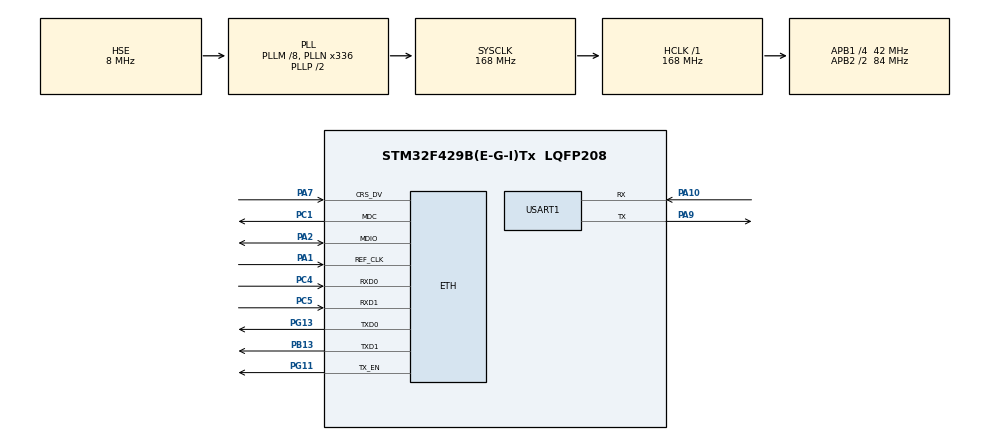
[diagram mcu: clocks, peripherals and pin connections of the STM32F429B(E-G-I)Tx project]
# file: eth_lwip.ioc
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ETH.MACAddr=02\:00\:00\:00\:00\:00
ETH.MediaInterface=HAL_ETH_RMII_MODE
LWIP.BSP.number=1
LWIP.GATEWAY_ADDRESS=192.168.028.001
LWIP.IP_ADDRESS=192.168.028.245
LWIP.LWIP_DHCP=0
LWIP.NETMASK_ADDRESS=255.255.255.000
LWIP.Version=v2.1.2_Cube
LWIP0.BSP.STBoard=false
LWIP0.BSP.api=BSP_COMPONENT_DRIVER
LWIP0.BSP.component=DP83848
LWIP0.BSP.instance=DP83848
LWIP0.BSP.name=Driver_PHY
LWIP0.BSP.semaphore=S_DP83848
LWIP0.BSP.solution=DP83848
Mcu.Family=STM32F4
Mcu.Name=STM32F429B(E-G-I)Tx
Mcu.Package=LQFP208
NVIC.PriorityGroup=NVIC_PRIORITYGROUP_4
NVIC.USART1_IRQn=true\:14\:0\:true\:false\:true\:true\:true\:true
PA1.Mode=RMII
PA1.Signal=ETH_REF_CLK
PA10.Mode=Asynchronous
PA10.Signal=USART1_RX
PA13.Mode=Serial_Wire
PA13.Signal=SYS_JTMS-SWDIO
PA14.Mode=Serial_Wire
PA14.Signal=SYS_JTCK-SWCLK
PA2.Mode=RMII
PA2.Signal=ETH_MDIO
PA7.Mode=RMII
PA7.Signal=ETH_CRS_DV
PA9.Mode=Asynchronous
PA9.Signal=USART1_TX
PB13.Mode=RMII
PB13.Signal=ETH_TXD1
PC1.Mode=RMII
PC1.Signal=ETH_MDC
PC4.Mode=RMII
PC4.Signal=ETH_RXD0
PC5.Mode=RMII
PC5.Signal=ETH_RXD1
PG11.Mode=RMII
PG11.Signal=ETH_TX_EN
PG13.Mode=RMII
PG13.Signal=ETH_TXD0
PH0/OSC_IN.Mode=HSE-External-Oscillator
PH0/OSC_IN.Signal=RCC_OSC_IN
PH1/OSC_OUT.Mode=HSE-External-Oscillator
PH1/OSC_OUT.Signal=RCC_OSC_OUT
ProjectManager.HeapSize=0x200
ProjectManager.StackSize=0x400
ProjectManager.TargetToolchain=STM32CubeIDE
RCC.48MHZClocksFreq_Value=84000000
RCC.AHBFreq_Value=168000000
RCC.APB1CLKDivider=RCC_HCLK_DIV4
RCC.APB1Freq_Value=42000000
RCC.APB1TimFreq_Value=84000000
RCC.APB2CLKDivider=RCC_HCLK_DIV2
RCC.APB2Freq_Value=84000000
RCC.APB2TimFreq_Value=168000000
RCC.CortexFreq_Value=168000000
RCC.HCLKFreq_Value=168000000
RCC.HSE_VALUE=8000000
RCC.HSI_VALUE=16000000
RCC.LSE_VALUE=32768
RCC.PLLM=8
RCC.PLLN=336
RCC.PLLSourceVirtual=RCC_PLLSOURCE_HSE
RCC.SYSCLKFreq_VALUE=168000000
RCC.SYSCLKSource=RCC_SYSCLKSOURCE_PLLCLK
RCC.VCOOutputFreq_Value=336000000
USART1.VirtualMode=VM_ASYNC
VP_LWIP_VS_Enabled.Mode=Enabled
board=custom

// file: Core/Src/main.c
/* USER CODE BEGIN Header */
/**
  ******************************************************************************
  * @file           : main.c
  * @brief          : Main program body
  ******************************************************************************
  * @attention
  *
  * Copyright (c) 2023 STMicroelectronics.
  * All rights reserved.
  *
  * This software is licensed under terms that can be found in the LICENSE file
  * in the root directory of this software component.
  * If no LICENSE file comes with this software, it is provided AS-IS.
  *
  ******************************************************************************
  */
/* USER CODE END Header */
#include "main.h"
#include "lwip.h"
#include "usart.h"
#include "gpio.h"

/* USER CODE BEGIN Includes */
#include <stdio.h>
#include "udp_server.h"
#include "udp_client.h"
/* USER CODE END Includes */

/* USER CODE BEGIN PV */
uint32_t g_uart_delay = 0;
uint8_t udp_send_buf[100];
uint32_t num = 0;
/* USER CODE END PV */

void SystemClock_Config(void);

/* USER CODE BEGIN 0 */
static void udp_client_send_test(void)
{
  if ((HAL_GetTick() - g_uart_delay) < 300)
  {
    return;
  }

  g_uart_delay = HAL_GetTick();

  sprintf((char*)udp_send_buf, "%d udp_test", num++);
  udp_client_send((char*)udp_send_buf);
}

static void udp_server_send_test(void)
{
  if ((HAL_GetTick() - g_uart_delay) < 500)
  {
    return;
  }

  g_uart_delay = HAL_GetTick();
  udp_demo_senddata(upcb_server);
}
/* USER CODE END 0 */

int main(void)
{

  /* MCU Configuration--------------------------------------------------------*/

  /* Reset of all peripherals, Initializes the Flash interface and the Systick. */
  HAL_Init();

  /* Configure the system clock */
  SystemClock_Config();

  /* Initialize all configured peripherals */
  MX_GPIO_Init();
  MX_LWIP_Init();
  MX_USART1_UART_Init();
  /* USER CODE BEGIN 2 */
  printf("hello world\r\n");
  udp_init();
  udp_server_init();
  // udp_client_init();
  /* USER CODE END 2 */

  /* Infinite loop */
  while (1)
  {

    /* USER CODE BEGIN 3 */
    MX_LWIP_Process();
    udp_server_send_test();
    // udp_client_send_test();
  }
  /* USER CODE END 3 */
}

void SystemClock_Config(void)
{
  RCC_OscInitTypeDef RCC_OscInitStruct = {0};
  RCC_ClkInitTypeDef RCC_ClkInitStruct = {0};

  /** Configure the main internal regulator output voltage
  */
  __HAL_RCC_PWR_CLK_ENABLE();
  __HAL_PWR_VOLTAGESCALING_CONFIG(PWR_REGULATOR_VOLTAGE_SCALE1);

  /** Initializes the RCC Oscillators according to the specified parameters
  * in the RCC_OscInitTypeDef structure.
  */
  RCC_OscInitStruct.OscillatorType = RCC_OSCILLATORTYPE_HSE;
  RCC_OscInitStruct.HSEState = RCC_HSE_ON;
  RCC_OscInitStruct.PLL.PLLState = RCC_PLL_ON;
  RCC_OscInitStruct.PLL.PLLSource = RCC_PLLSOURCE_HSE;
  RCC_OscInitStruct.PLL.PLLM = 8;
  RCC_OscInitStruct.PLL.PLLN = 336;
  RCC_OscInitStruct.PLL.PLLP = RCC_PLLP_DIV2;
  RCC_OscInitStruct.PLL.PLLQ = 4;
  if (HAL_RCC_OscConfig(&RCC_OscInitStruct) != HAL_OK)
  {
    Error_Handler();
  }

  /** Initializes the CPU, AHB and APB buses clocks
  */
  RCC_ClkInitStruct.ClockType = RCC_CLOCKTYPE_HCLK|RCC_CLOCKTYPE_SYSCLK
                              |RCC_CLOCKTYPE_PCLK1|RCC_CLOCKTYPE_PCLK2;
  RCC_ClkInitStruct.SYSCLKSource = RCC_SYSCLKSOURCE_PLLCLK;
  RCC_ClkInitStruct.AHBCLKDivider = RCC_SYSCLK_DIV1;
  RCC_ClkInitStruct.APB1CLKDivider = RCC_HCLK_DIV4;
  RCC_ClkInitStruct.APB2CLKDivider = RCC_HCLK_DIV2;

  if (HAL_RCC_ClockConfig(&RCC_ClkInitStruct, FLASH_LATENCY_5) != HAL_OK)
  {
    Error_Handler();
  }

  __HAL_RCC_SYSCFG_CLK_ENABLE() ;

	HAL_EnableCompensationCell();
}

void Error_Handler(void)
{
  __disable_irq();
  while (1)
  {
  }
}
